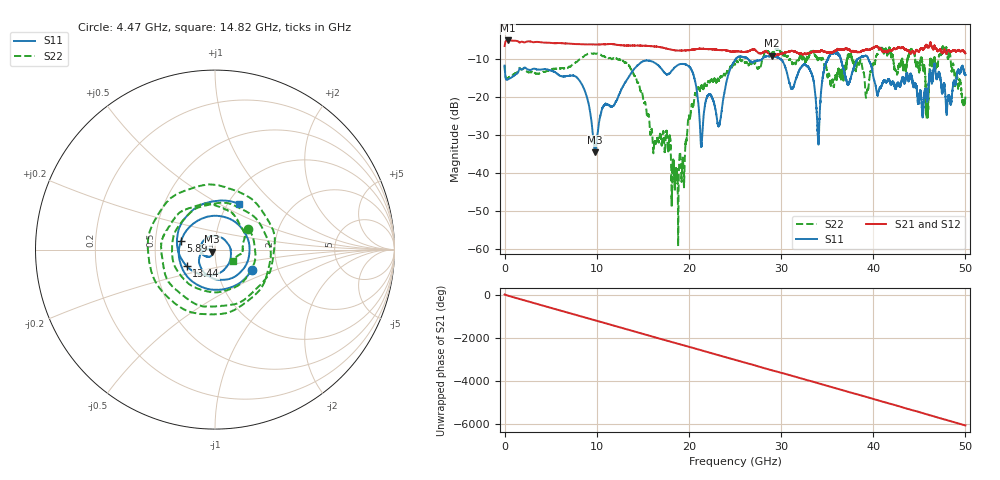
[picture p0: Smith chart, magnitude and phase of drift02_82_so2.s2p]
!Created with skrf (http://scikit-rf.org).
# Hz S RI R 50.0
!freq ReS11 ImS11 ReS21 ImS21 ReS12 ImS12 ReS22 ImS22
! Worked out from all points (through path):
!   10001 points, 300 kHz to 50 GHz, reference 50 ohm
!   highest |S21| = -5.04 dB at 325.3 MHz (marker M1); lowest = -9.0 dB at 29.05 GHz (marker M2)
!   group delay of S21, straight-line fit = 336 ps
!   lowest |S11| = -34.5 dB at 9.84 GHz (marker M3), VSWR 1.04, Z = 48.5 - j1.04 ohm
!   |S11| at or under -10 dB: start of sweep to 25.07 GHz; 29.97 GHz to 35.05 GHz (5.084 GHz wide, 15.6 % of centre); 39.48 GHz to end of sweep (the widest 3 of 6)
!   |S22| runs from -59.3 to -6.5 dB; largest |S21 - S12| = 0.024
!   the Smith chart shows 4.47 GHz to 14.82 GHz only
!   S11 on the Smith chart (normalised r, x): 4.47 GHz: 1.46, -0.35; 5.89 GHz: 0.68, +0.07; 13.44 GHz: 0.72, -0.14; 14.82 GHz: 1.12, +0.62
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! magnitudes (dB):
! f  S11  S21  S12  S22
! 300 kHz  -11.7  -6.5  -6.4  -11.6
! 325.3 MHz  -15.4  -5.0  -5.0  -15.0
! 4.47 GHz  -12.6  -5.6  -5.6  -13.2
! 5.89 GHz  -14.2  -5.7  -5.7  -12.5
! 8.335 GHz  -16.4  -6.1  -6.0  -9.6
! 9.84 GHz  -34.5  -6.1  -6.1  -8.5
! 13.44 GHz  -14.8  -6.4  -6.4  -11.6
! 14.82 GHz  -10.8  -6.4  -6.4  -18.5
! 16.67 GHz  -11.6  -6.7  -6.7  -31.5
! 18.66 GHz  -11.8  -7.7  -7.7  -39.2
! 20.37 GHz  -13.3  -7.5  -7.5  -21.7
! 21.37 GHz  -32.1  -7.2  -7.2  -16.9
! 23.31 GHz  -27.2  -7.5  -7.6  -15.6
! 25 GHz  -10.3  -7.9  -7.9  -11.2
! 29.05 GHz  -9.1  -9.0  -9.0  -8.2
! 33.34 GHz  -13.9  -8.1  -8.1  -8.1
! 34.02 GHz  -31.3  -7.9  -7.9  -10.2
! 35.52 GHz  -8.5  -8.2  -8.0  -15.7
! 41.67 GHz  -15.3  -7.7  -7.7  -7.4
! 45.86 GHz  -21.0  -6.7  -6.8  -20.7
! 47.76 GHz  -17.1  -7.5  -7.5  -7.6
! 50 GHz  -14.2  -8.4  -8.4  -19.9
